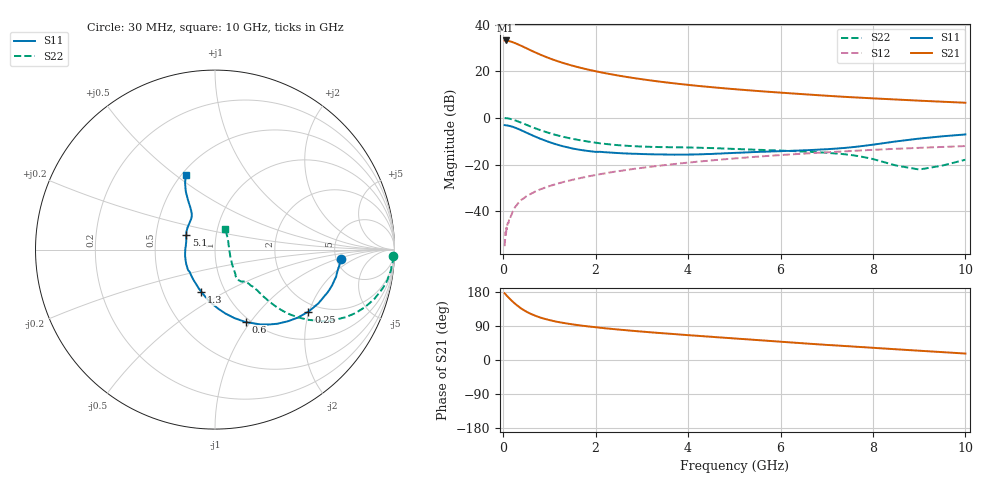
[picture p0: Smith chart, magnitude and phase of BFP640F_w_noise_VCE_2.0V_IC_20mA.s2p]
! Infineon Technologies  Discrete & RF Semiconductors
! BFP640F
! VCE =  2.0 V,  IC =  20 mA
! Common Emitter S-Parameters:  Apr 2013
# GHz  S  MA  R  50
!  f  S11  S21  S12  S22
! GHz  MAG  ANG  MAG  ANG  MAG  ANG  MAG  ANG
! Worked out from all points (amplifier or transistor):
!   99 points, 30 MHz to 10 GHz, reference 50 ohm
!   highest |S21| = 33.2 dB at 50 MHz (marker M1)
!   |S21| within 3 dB of that: start of sweep to 465.4 MHz
!   unconditionally stable (mu >= 1): 2.243 GHz to end of sweep
!   at 350 MHz: K = 0.36, MSG = 33.5 dB, |S12| = -35.8 dB
!   at 3.5 GHz: K = 1.05, MAG = 16.4 dB, |S12| = -20.2 dB
!   at 10 GHz: K = 1.05, MAG = 7.9 dB, |S12| = -12.0 dB
!   lowest NFmin = 0.82 dB at 450 MHz
!   S11 on the Smith chart (normalised r, x): 30 MHz: 5.52, -1.10; 250 MHz: 1.74, -1.98; 600 MHz: 0.95, -0.95; 1.3 GHz: 0.77, -0.39; 5.1 GHz: 0.72, +0.12; 10 GHz: 0.53, +0.54
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0.03  0.7036 -4.1  45.35 176.2  0.0018 88.0  0.9898 -2.1
0.05  0.6992 -7.1  45.71 173.6  0.0036 97.4  0.9934 -4.0
0.09  0.6915 -12.7  45.03 168.1  0.0052 89.5  0.983 -8.0
0.15  0.6702 -21.0  43.69 160.5  0.0072 85.2  0.957 -13.3
0.2  0.6494 -27.5  42.12 154.6  0.0096 80.2  0.9282 -17.4
0.25  0.6248 -33.6  40.32 149.2  0.0121 77.0  0.8936 -21.1
0.3  0.5971 -39.4  38.52 144.1  0.014 74.3  0.858 -24.4
0.4  0.5394 -50.0  34.8 135.0  0.0179 72.9  0.7834 -29.7
0.5  0.4858 -59.0  31.18 127.7  0.0211 71.3  0.7154 -33.8
0.6  0.4382 -67.1  27.97 121.6  0.0238 69.4  0.6522 -36.9
0.7  0.3965 -74.2  25.17 116.5  0.0268 69.0  0.5978 -39.2
0.8  0.36 -80.9  22.78 112.1  0.0296 67.9  0.5509 -40.9
0.9  0.3303 -86.8  20.74 108.5  0.0321 67.3  0.5097 -42.1
1.1  0.2821 -98.0  17.47 102.5  0.0373 67.0  0.4431 -43.4
1.3  0.247 -108.0  15.02 97.9  0.0425 66.7  0.3947 -43.9
1.7  0.2053 -126.3  11.7 90.7  0.0525 66.0  0.3286 -43.9
2.4  0.1796 -152.9  8.396 81.4  0.0705 64.0  0.2663 -45.4
3.4  0.1659 -179.4  5.984 71.1  0.0956 60.1  0.2382 -48.2
5.1  0.1803 152.5  4.068 56.0  0.1384 52.0  0.2159 -52.1
6.7  0.2071 132.7  3.131 42.3  0.1768 43.1  0.1866 -52.0
8.5  0.3148 118.6  2.486 28.3  0.2191 32.8  0.096 -26.5
10  0.4441 111.6  2.121 17.0  0.2506 24.1  0.1278 63.8
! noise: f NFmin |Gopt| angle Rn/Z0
0.45  0.82  0.01  19  0.06
0.9  0.82  0.01  55  0.06
1.5  0.85  0.01  87  0.07
1.9  0.87  0.02  120  0.07
2.4  0.9  0.03  140  0.08
3.5  0.98  0.05  171  0.09
5.5  1.16  0.18  -132  0.12
10  1.64  0.41  -89  0.39
